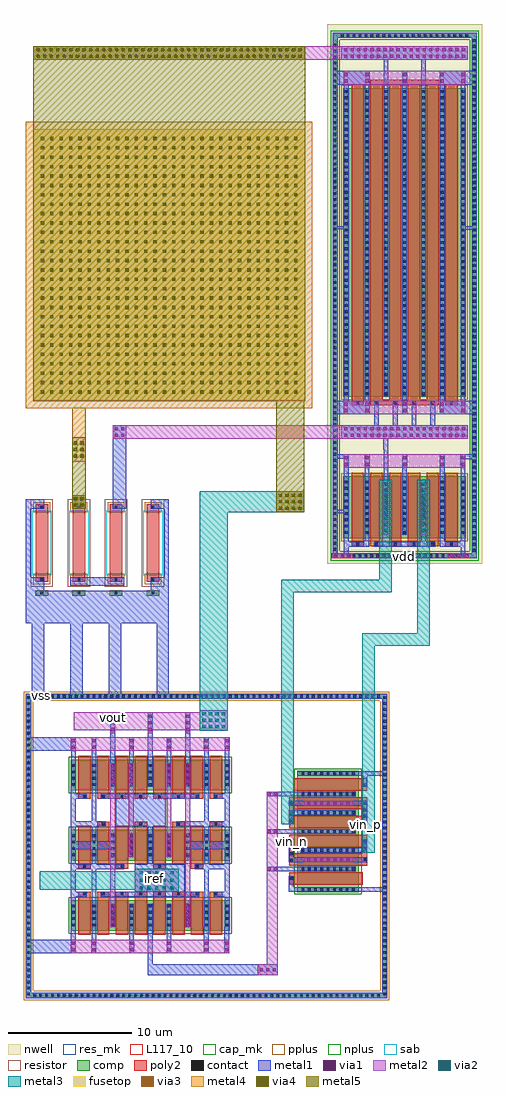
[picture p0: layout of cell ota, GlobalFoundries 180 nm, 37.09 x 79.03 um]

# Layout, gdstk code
from math import pi, radians
import gdstk
lib = gdstk.Library(unit=1e-6, precision=1e-09)
def R(c, l, rs):  # rectangles x0, y0, x1, y1
    for r in rs: c.add(gdstk.rectangle(r[:2], r[2:], *l))
def A(c, l, x, y, w, h, nx, ny, dx, dy):  # array of equal rectangles
    R(c, l, [(x+i*dx, y+j*dy, x+i*dx+w, y+j*dy+h) for i in range(nx) for j in range(ny)])
nwell = (21, 0)
comp = (22, 0)
poly2 = (30, 0)
pplus = (31, 0)
nplus = (32, 0)
contact = (33, 0)
metal1 = (34, 0)
via1 = (35, 0)
metal2 = (36, 0)
via2 = (38, 0)
via3 = (40, 0)
via4 = (41, 0)
metal3 = (42, 0)
metal4 = (46, 0)
sab = (49, 0)
resistor = (62, 0)
fusetop = (75, 0)
metal5 = (81, 0)
res_mk = (110, 5)
cap_mk = (117, 5)
L117_10 = (117, 10)

via_dev_12 = lib.new_cell('via_dev$12')
R(via_dev_12, comp, [(-0.01,-0.01,0.41,24.64)])
A(via_dev_12, contact, 0.09, 0.205, 0.22, 0.22, 1, 51, 0, 0.48)
R(via_dev_12, metal1, [(-0.01,-0.01,0.41,24.64)])

via_dev_15 = lib.new_cell('via_dev$15')
R(via_dev_15, comp, [(0.01,-0.01,28.43,0.41)])
A(via_dev_15, contact, 0.19, 0.09, 0.22, 0.22, 59, 1, 0.48, 0)
R(via_dev_15, metal1, [(0.01,-0.01,28.43,0.41)])

via_dev_33 = lib.new_cell('via_dev$33')
R(via_dev_33, metal1, [(0,0,1.6,0.9)])
A(via_dev_33, via1, 0.14, 0.32, 0.26, 0.26, 3, 1, 0.53, 0)
R(via_dev_33, metal2, [(0,0,1.6,0.9)])

via_dev_32 = lib.new_cell('via_dev$32')
R(via_dev_32, metal2, [(0,0,2.26,1.6)])
A(via_dev_32, via2, 0.205, 0.14, 0.26, 0.26, 4, 3, 0.53, 0.53)
R(via_dev_32, metal3, [(0,0,2.26,1.6)])

ota_res_flat = lib.new_cell('ota_res_FLAT')
A(ota_res_flat, comp, 0.36, -6.21, 0.42, 1, 1, 4, 0, 3)
A(ota_res_flat, poly2, 1.48, -6.21, 6.28, 1, 1, 4, 0, 3)
A(ota_res_flat, pplus, 1.3, -6.39, 0.82, 1.36, 1, 4, 0, 3)
A(ota_res_flat, pplus, 7.12, -6.39, 0.82, 1.36, 1, 4, 0, 3)
A(ota_res_flat, pplus, 0.34, -6.23, 0.46, 1.04, 1, 4, 0, 3)
A(ota_res_flat, contact, 0.46, -5.82, 0.22, 0.22, 1, 4, 0, 3)
A(ota_res_flat, contact, 1.58, -5.82, 0.22, 0.22, 1, 4, 0, 3)
A(ota_res_flat, contact, 7.44, -5.82, 0.22, 0.22, 1, 4, 0, 3)
A(ota_res_flat, metal1, 0.38, -5.9, 0.38, 0.38, 1, 4, 0, 3)
A(ota_res_flat, metal1, 1.47, -5.9, 0.38, 0.38, 1, 4, 0, 3)
R(ota_res_flat, metal1, [(0.38,-7,1.85,-5.515), (0.38,-7,0.76,4.58), (1.85,-7,7.77,-6.61), (7.39,-7,8.16,-5.515), (7.39,-5.9,7.77,-5.52), (1.15,-3.39,1.85,0.97), (0.38,-2.905,0.76,-2.515), (7.39,-2.905,7.77,-2.515), (7.39,-2.9,7.77,-2.52), (0.38,0.095,0.76,0.485), (7.39,0.095,7.77,0.485), (7.39,0.1,8.61,0.48), (0.38,3.095,1.85,4.58), (7.39,3.095,8.16,4.58), (7.39,3.1,7.77,3.48), (1.85,4.19,7.77,4.58)])
A(ota_res_flat, sab, 2.02, -6.49, 5.2, 1.56, 1, 4, 0, 3)
A(ota_res_flat, resistor, 1.08, -6.61, 7.08, 1.8, 1, 4, 0, 3)
A(ota_res_flat, res_mk, 2.12, -6.21, 5, 1, 1, 4, 0, 3)
ota_res_flat.add(gdstk.Label('vss', (0.51,-6.495), layer=34, texttype=10))
ota_res_flat.add(gdstk.Label('vin', (7.72,0.225), layer=34, texttype=10))
ota_res_flat.add(gdstk.Label('vout', (7.72,-2.665), layer=34, texttype=10))

via_dev_39 = lib.new_cell('via_dev$39')
R(via_dev_39, metal1, [(0,0,3.56,1.87)])
A(via_dev_39, via1, 0.41, 0.185, 0.26, 0.26, 5, 3, 0.62, 0.62)
R(via_dev_39, metal2, [(0,0,3.56,1.87)])
A(via_dev_39, via2, 0.41, 0.185, 0.26, 0.26, 5, 3, 0.62, 0.62)
R(via_dev_39, metal3, [(0,0,3.56,1.87)])

via_dev_42 = lib.new_cell('via_dev$42')
R(via_dev_42, metal1, [(0,0,0.4,1.91)])
A(via_dev_42, via1, 0.07, 0.295, 0.26, 0.26, 1, 3, 0, 0.53)
R(via_dev_42, metal2, [(0,0,0.4,1.91)])

cm_nmos_flat = lib.new_cell('cm_nmos_FLAT')
A(cm_nmos_flat, comp, 9.16, -4.745, 0.42, 2.5, 1, 3, 0, 5.685)
A(cm_nmos_flat, comp, 9.58, -4.745, 12.02, 2.5, 1, 3, 0, 5.685)
A(cm_nmos_flat, comp, 21.6, -4.745, 0.42, 2.5, 1, 3, 0, 5.685)
A(cm_nmos_flat, poly2, 9.77, -5.045, 1, 3.1, 8, 3, 1.52, 5.685)
A(cm_nmos_flat, poly2, 9.77, -1.945, 1, 0.36, 8, 2, 1.52, 7.91)
A(cm_nmos_flat, poly2, 9.77, 0.28, 1, 0.36, 4, 1, 3.04, 0)
A(cm_nmos_flat, poly2, 11.29, 3.74, 1, 0.36, 4, 1, 3.04, 0)
A(cm_nmos_flat, nplus, 8.99, -4.985, 13.2, 2.98, 1, 3, 0, 5.685)
A(cm_nmos_flat, contact, 9.26, -4.37, 0.22, 0.22, 1, 4, 0, 0.51)
A(cm_nmos_flat, contact, 10.92, -4.37, 0.22, 0.22, 7, 4, 1.52, 0.51)
A(cm_nmos_flat, contact, 21.7, -4.37, 0.22, 0.22, 1, 4, 0, 0.51)
A(cm_nmos_flat, contact, 10.16, -1.875, 0.22, 0.22, 8, 2, 1.52, 7.91)
A(cm_nmos_flat, contact, 10.16, 0.35, 0.22, 0.22, 4, 1, 3.04, 0)
A(cm_nmos_flat, contact, 9.26, 1.315, 0.22, 0.22, 1, 4, 0, 0.51)
A(cm_nmos_flat, contact, 10.92, 1.315, 0.22, 0.22, 7, 4, 1.52, 0.51)
A(cm_nmos_flat, contact, 21.7, 1.315, 0.22, 0.22, 1, 4, 0, 0.51)
A(cm_nmos_flat, contact, 11.68, 3.81, 0.22, 0.22, 4, 1, 3.04, 0)
A(cm_nmos_flat, contact, 9.26, 7, 0.22, 0.22, 1, 4, 0, 0.51)
A(cm_nmos_flat, contact, 10.92, 7, 0.22, 0.22, 7, 4, 1.52, 0.51)
A(cm_nmos_flat, contact, 21.7, 7, 0.22, 0.22, 1, 4, 0, 0.51)
A(cm_nmos_flat, metal1, 12.35, -8.57, 0.4, 1.7, 3, 1, 3.04, 0)
A(cm_nmos_flat, metal1, 10.835, -6.55, 0.4, 1.1, 4, 1, 3.035, 0)
A(cm_nmos_flat, metal1, 10.84, -5.45, 0.38, 1, 4, 1, 3.04, 0)
A(cm_nmos_flat, metal1, 9.18, -4.45, 0.38, 1.91, 1, 3, 0, 5.685)
A(cm_nmos_flat, metal1, 12.36, -4.45, 0.38, 1.91, 6, 1, 1.52, 0)
A(cm_nmos_flat, metal1, 21.62, -4.45, 0.38, 1.91, 1, 3, 0, 5.685)
A(cm_nmos_flat, metal1, 10.08, -1.955, 0.38, 0.38, 8, 2, 1.52, 7.91)
A(cm_nmos_flat, metal1, 10.08, 0.27, 0.38, 0.38, 4, 1, 3.04, 0)
A(cm_nmos_flat, metal1, 10.84, 1.235, 0.38, 1.91, 7, 2, 1.52, 5.685)
A(cm_nmos_flat, metal1, 11.6, 3.73, 0.38, 0.38, 4, 1, 3.04, 0)
R(cm_nmos_flat, metal1, [(15.4,-8.575,15.78,-4.45), (12.36,-8.57,12.74,-4.45), (18.44,-8.57,18.82,-4.45), (18.44,-7.45,18.82,-4.45), (9.17,-6.55,9.57,-5.45), (21.61,-6.55,22.01,-5.45), (9.18,-5.45,9.56,-4.45), (21.62,-5.45,22,-4.45), (10.84,-4.45,11.22,-2.54), (12.36,-4.45,12.74,-2.54), (9.17,-2.54,9.57,0.66), (10.84,-2.54,11.22,1.235), (19.96,-2.54,20.34,1.235), (21.61,-2.54,22.01,-1.57), (9.17,-1.96,10.46,-1.575), (11.6,-1.96,19.58,-1.57), (20.72,-1.96,22.01,-1.57), (21.61,-1.65,22.01,6.92), (14.33,-1.57,18.37,0.655), (9.17,0.265,13.5,0.655), (9.17,0.265,9.57,1.235), (19.2,0.265,22.01,0.655), (21.61,0.265,22.01,1.235), (15.39,0.655,15.79,1.235), (9.56,1.87,12.36,2.495), (18.82,1.87,21.62,2.495), (9.17,3.145,9.57,4.115), (10.84,3.145,11.22,6.92), (15.39,3.145,15.79,3.725), (19.96,3.145,20.34,6.92), (21.61,3.145,22.01,4.115), (9.17,3.725,11.98,4.115), (12.81,3.725,16.85,5.95), (17.68,3.725,22.01,4.115), (9.17,4.115,9.57,6.92), (11.6,5.95,19.58,6.34), (20.72,5.95,22.01,6.34), (9.17,5.96,10.46,6.34), (13.87,8.775,14.27,9.85), (9.18,8.83,9.58,10.93), (10.84,8.83,11.24,9.85), (15.4,8.83,15.78,12.72), (16.92,8.83,17.3,10.925), (19.96,8.83,20.34,10.925), (21.62,8.83,22.02,9.85), (10.84,9.85,11.24,10.93), (13.87,9.85,14.27,10.93), (16.89,9.85,17.29,10.93), (19.95,9.85,20.35,10.93), (21.62,9.85,22.02,10.93)])
A(cm_nmos_flat, via1, 12.42, -8.38, 0.26, 0.26, 3, 3, 3.04, 0.53)
A(cm_nmos_flat, via1, 10.905, -6.395, 0.26, 0.26, 4, 2, 3.035, 0.53)
R(cm_nmos_flat, via1, [(9.24,-6.395,9.5,-6.135), (21.68,-6.395,21.94,-6.135), (9.24,-5.865,9.5,-5.605), (21.68,-5.865,21.94,-5.605), (9.25,9.995,9.51,10.255), (10.91,9.995,11.17,10.255), (13.94,9.995,14.2,10.255), (16.96,9.995,17.22,10.255), (20.02,9.995,20.28,10.255), (21.69,9.995,21.95,10.255), (9.25,10.525,9.51,10.785), (10.91,10.525,11.17,10.785), (13.94,10.525,14.2,10.785), (16.96,10.525,17.22,10.785), (20.02,10.525,20.28,10.785), (21.69,10.525,21.95,10.785)])
A(cm_nmos_flat, metal2, 12.35, -8.57, 0.4, 1.7, 3, 1, 3.04, 0)
A(cm_nmos_flat, metal2, 10.835, -6.55, 0.4, 1.1, 4, 1, 3.035, 0)
R(cm_nmos_flat, metal2, [(9.32,-8.57,21.8,-7.13), (9.17,-6.55,22.01,-5.45), (9.17,-6.55,22.01,-5.45), (9.17,-6.55,9.57,-5.45), (21.61,-6.55,22.01,-5.45), (12.35,-2.54,12.75,6.92), (13.87,-2.54,14.27,1.235), (16.91,-2.54,17.31,1.235), (18.43,-2.54,18.83,6.92), (9.18,9.85,22.01,10.93), (9.18,9.85,9.58,10.93), (10.84,9.85,11.24,10.93), (13.87,9.85,14.27,10.93), (16.89,9.85,17.29,10.93), (19.95,9.85,20.35,10.93), (21.62,9.85,22.02,10.93)])
cm_nmos_flat.add(gdstk.Reference(via_dev_42, (12.35,-4.45)))
cm_nmos_flat.add(gdstk.Reference(via_dev_42, (13.87,-4.45)))
cm_nmos_flat.add(gdstk.Reference(via_dev_42, (16.91,-4.45)))
cm_nmos_flat.add(gdstk.Reference(via_dev_42, (18.43,-4.45)))
cm_nmos_flat.add(gdstk.Reference(via_dev_42, (18.43,6.92)))
cm_nmos_flat.add(gdstk.Reference(via_dev_42, (12.35,6.92)))
cm_nmos_flat.add(gdstk.Reference(via_dev_42, (13.87,1.235)))
cm_nmos_flat.add(gdstk.Reference(via_dev_42, (16.91,1.235)))
cm_nmos_flat.add(gdstk.Label('iref', (13.635,6.145), layer=34, texttype=10))
cm_nmos_flat.add(gdstk.Label('vout', (18.555,-8.16), layer=34, texttype=10))
cm_nmos_flat.add(gdstk.Label('vss', (10.4,3.965), layer=34, texttype=10))
cm_nmos_flat.add(gdstk.Label('iout', (15.62,12.705), layer=34, texttype=10))

via_dev_35 = lib.new_cell('via_dev$35')
R(via_dev_35, metal2, [(0,0,22,1.1)])
A(via_dev_35, via2, 0.27, 0.155, 0.26, 0.26, 41, 2, 0.53, 0.53)
A(via_dev_35, via3, 0.27, 0.155, 0.26, 0.26, 41, 2, 0.53, 0.53)
A(via_dev_35, via4, 0.27, 0.155, 0.26, 0.26, 41, 2, 0.53, 0.53)
R(via_dev_35, metal3, [(0,0,22,1.1)])
R(via_dev_35, metal4, [(0,0,22,1.1)])
R(via_dev_35, metal5, [(0,0,22,1.1)])

cap_mim = lib.new_cell('cap_mim')
A(cap_mim, via4, 0.61, 0.61, 0.26, 0.26, 28, 28, 0.76, 0.76)
R(cap_mim, metal4, [(-0.6,-0.6,22.6,22.6)])
R(cap_mim, fusetop, [(0,0,22,22)])
R(cap_mim, metal5, [(0,0,22,22)])
R(cap_mim, cap_mk, [(-0.6,-0.6,22.6,22.6)])
R(cap_mim, L117_10, [(0,0,22,0.1)])

via_dev_40 = lib.new_cell('via_dev$40')
R(via_dev_40, comp, [(0,0,0.4,42.14)])
A(via_dev_40, contact, 0.09, 0.145, 0.22, 0.22, 1, 87, 0, 0.48)
R(via_dev_40, metal1, [(0,0,0.4,42.14)])

via_dev_41 = lib.new_cell('via_dev$41')
R(via_dev_41, comp, [(0,0,11.26,0.4)])
A(via_dev_41, contact, 0.265, 0.09, 0.22, 0.22, 22, 1, 0.48, 0)
R(via_dev_41, metal1, [(0,0,11.26,0.4)])

via_dev_34 = lib.new_cell('via_dev$34')
R(via_dev_34, metal1, [(0,0,1.1,1.1)])
R(via_dev_34, via1, [(0.155,0.155,0.415,0.415), (0.685,0.155,0.945,0.415), (0.155,0.685,0.415,0.945), (0.685,0.685,0.945,0.945)])
R(via_dev_34, metal2, [(0,0,1.1,1.1)])

via_dev_36 = lib.new_cell('via_dev$36')
A(via_dev_36, via3, 0.205, 0.19, 0.26, 0.26, 4, 3, 0.53, 0.53)
A(via_dev_36, via4, 0.205, 0.19, 0.26, 0.26, 4, 3, 0.53, 0.53)
R(via_dev_36, metal3, [(0,0,2.26,1.7)])
R(via_dev_36, metal4, [(0,0,2.26,1.7)])
R(via_dev_36, metal5, [(0,0,2.26,1.7)])

via_dev_22 = lib.new_cell('via_dev$22')
R(via_dev_22, metal1, [(0,0,0.4,1.1)])
R(via_dev_22, via1, [(0.07,0.155,0.33,0.415), (0.07,0.685,0.33,0.945)])
R(via_dev_22, metal2, [(0,0,0.4,1.1)])

cm_pmos_flat = lib.new_cell('cm_pmos_FLAT')
R(cm_pmos_flat, nwell, [(6.305,-3.895,17.085,4.87), (6.305,-3.895,17.085,1.985)])
R(cm_pmos_flat, comp, [(6.745,-3.455,7.205,1.545), (7.205,-3.455,16.185,1.545), (16.185,-3.455,16.645,1.545), (9.975,-3.185,10.375,1.275), (13.015,-3.185,13.415,1.275)])
A(cm_pmos_flat, poly2, 7.395, -4.135, 1, 0.38, 6, 1, 1.52, 0)
A(cm_pmos_flat, poly2, 7.395, -3.755, 1, 5.6, 6, 1, 1.52, 0)
R(cm_pmos_flat, pplus, [(6.575,-3.695,16.815,1.785)])
A(cm_pmos_flat, contact, 7.785, -4.055, 0.22, 0.22, 6, 1, 1.52, 0)
A(cm_pmos_flat, contact, 6.865, -3.105, 0.22, 0.22, 1, 9, 0, 0.51)
A(cm_pmos_flat, contact, 8.545, -3.105, 0.22, 0.22, 3, 4, 3.04, 0.51)
A(cm_pmos_flat, contact, 16.305, -3.105, 0.22, 0.22, 1, 9, 0, 0.51)
A(cm_pmos_flat, contact, 10.065, -2.985, 0.22, 0.22, 1, 4, 0, 0.48)
A(cm_pmos_flat, contact, 13.105, -2.985, 0.22, 0.22, 1, 4, 0, 0.48)
A(cm_pmos_flat, contact, 8.545, -1.065, 0.22, 0.22, 5, 1, 1.52, 0)
A(cm_pmos_flat, contact, 10.065, -0.585, 0.22, 0.22, 1, 4, 0, 0.48)
A(cm_pmos_flat, contact, 13.105, -0.585, 0.22, 0.22, 1, 4, 0, 0.48)
A(cm_pmos_flat, contact, 8.545, -0.555, 0.22, 0.22, 3, 4, 3.04, 0.51)
A(cm_pmos_flat, metal1, 7.705, -4.135, 0.38, 0.38, 6, 1, 1.52, 0)
A(cm_pmos_flat, metal1, 8.465, -3.185, 0.38, 4.46, 3, 1, 3.04, 0)
A(cm_pmos_flat, metal1, 8.465, 1.275, 0.38, 0.95, 3, 1, 3.04, 0)
R(cm_pmos_flat, metal1, [(6.785,-4.14,7.165,-3.185), (7.165,-4.14,8.845,-3.75), (8.465,-4.14,8.845,-3.185), (9.225,-4.14,14.165,-3.75), (14.545,-4.14,14.925,-3.185), (14.925,-4.14,16.225,-3.75), (16.225,-4.14,16.605,-3.185), (13.025,-3.75,13.405,-3.185), (6.785,-3.185,7.165,1.275), (9.975,-3.185,10.375,1.275), (13.015,-3.185,13.415,1.275), (16.225,-3.185,16.605,1.275), (6.785,1.275,7.165,2.225), (9.985,1.275,10.365,3.74), (16.225,1.275,16.605,2.225)])
A(cm_pmos_flat, via1, 10.045, -2.94, 0.26, 0.26, 1, 8, 0, 0.53)
A(cm_pmos_flat, via1, 13.085, -2.94, 0.26, 0.26, 1, 8, 0, 0.53)
R(cm_pmos_flat, metal2, [(9.975,-3.185,10.375,1.275), (13.015,-3.185,13.415,1.275), (7.175,2.225,16.215,3.325)])
A(cm_pmos_flat, via2, 10.045, -2.94, 0.26, 0.26, 1, 8, 0, 0.53)
A(cm_pmos_flat, via2, 13.085, -2.94, 0.26, 0.26, 1, 8, 0, 0.53)
R(cm_pmos_flat, metal3, [(9.975,-3.185,10.375,1.275), (13.015,-3.185,13.415,1.275)])
cm_pmos_flat.add(gdstk.Reference(via_dev_22, (6.775,2.225)))
cm_pmos_flat.add(gdstk.Reference(via_dev_22, (8.455,2.225)))
cm_pmos_flat.add(gdstk.Reference(via_dev_22, (11.495,2.225)))
cm_pmos_flat.add(gdstk.Reference(via_dev_22, (14.535,2.225)))
cm_pmos_flat.add(gdstk.Reference(via_dev_22, (16.215,2.225)))
cm_pmos_flat.add(gdstk.Label('vout1', (11.655,-3.985), layer=34, texttype=10))
cm_pmos_flat.add(gdstk.Label('vdd', (15.775,-4), layer=34, texttype=10))
cm_pmos_flat.add(gdstk.Label('vout2', (10.205,1.605), layer=34, texttype=10))

via_dev_45 = lib.new_cell('via_dev$45')
R(via_dev_45, metal1, [(0,0,1.7,0.4)])
A(via_dev_45, via1, 0.19, 0.07, 0.26, 0.26, 3, 1, 0.53, 0)
R(via_dev_45, metal2, [(0,0,1.7,0.4)])

via_dev_58 = lib.new_cell('via_dev$58')
A(via_dev_58, via4, 0.155, 0.34, 0.26, 0.26, 1, 3, 0, 0.53)
A(via_dev_58, via4, 0.685, 0.34, 0.26, 0.26, 1, 3, 0, 0.53)
R(via_dev_58, metal4, [(0,0,1.1,2)])
R(via_dev_58, metal5, [(0,0,1.1,2)])

via_dev_56 = lib.new_cell('via_dev$56')
R(via_dev_56, metal1, [(0,0,1.1,1.1)])
R(via_dev_56, via1, [(0.155,0.155,0.415,0.415), (0.685,0.155,0.945,0.415), (0.155,0.685,0.415,0.945), (0.685,0.685,0.945,0.945)])
R(via_dev_56, metal2, [(0,0,1.1,1.1)])
R(via_dev_56, via2, [(0.155,0.155,0.415,0.415), (0.685,0.155,0.945,0.415), (0.155,0.685,0.415,0.945), (0.685,0.685,0.945,0.945)])
R(via_dev_56, via3, [(0.155,0.155,0.415,0.415), (0.685,0.155,0.945,0.415), (0.155,0.685,0.415,0.945), (0.685,0.685,0.945,0.945)])
R(via_dev_56, via4, [(0.155,0.155,0.415,0.415), (0.685,0.155,0.945,0.415), (0.155,0.685,0.415,0.945), (0.685,0.685,0.945,0.945)])
R(via_dev_56, metal3, [(0,0,1.1,1.1)])
R(via_dev_56, metal4, [(0,0,1.1,1.1)])
R(via_dev_56, metal5, [(0,0,1.1,1.1)])

diff_pair_flat = lib.new_cell('diff_pair_FLAT')
R(diff_pair_flat, comp, [(8.89,-12.565,13.89,-12.145), (8.89,-12.145,13.89,-3.16), (8.89,-3.16,13.89,-2.74)])
A(diff_pair_flat, poly2, 8.225, -11.95, 0.36, 1, 1, 3, 0, 3.04)
A(diff_pair_flat, poly2, 8.585, -11.95, 5.605, 1, 1, 6, 0, 1.52)
R(diff_pair_flat, poly2, [(8.225,-10.43,8.585,-7.91), (14.19,-10.43,14.55,-9.43), (14.19,-9.43,14.55,-7.91), (8.225,-7.39,8.585,-5.87), (14.19,-7.39,14.55,-4.87), (14.19,-4.35,14.55,-3.35)])
R(diff_pair_flat, nplus, [(8.645,-12.735,14.13,-2.57)])
A(diff_pair_flat, contact, 9.235, -12.465, 0.22, 0.22, 5, 2, 0.51, 1.665)
A(diff_pair_flat, contact, 11.79, -12.465, 0.22, 0.22, 4, 2, 0.51, 1.665)
A(diff_pair_flat, contact, 8.295, -10.08, 0.22, 0.22, 1, 4, 0, 0.52)
A(diff_pair_flat, contact, 9.235, -9.28, 0.22, 0.22, 5, 4, 0.51, 1.52)
A(diff_pair_flat, contact, 11.79, -9.28, 0.22, 0.22, 4, 4, 0.51, 1.52)
A(diff_pair_flat, contact, 14.26, -7.05, 0.22, 0.22, 1, 4, 0, 0.52)
A(diff_pair_flat, contact, 9.235, -3.06, 0.22, 0.22, 5, 1, 0.51, 0)
A(diff_pair_flat, contact, 11.79, -3.06, 0.22, 0.22, 4, 1, 0.51, 0)
R(diff_pair_flat, contact, [(8.295,-11.56,8.515,-11.34), (14.26,-10.04,14.48,-9.82), (8.295,-5.48,8.515,-5.26), (14.26,-3.96,14.48,-3.74)])
A(diff_pair_flat, metal1, 6.405, -10.88, 4.5, 0.38, 1, 3, 0, 3.04)
A(diff_pair_flat, metal1, 9.155, -10.88, 4.465, 0.38, 1, 3, 0, 3.04)
R(diff_pair_flat, metal1, [(9.155,-12.545,16.17,-12.165), (15.77,-12.545,16.17,-2.76), (8.21,-12.54,9.155,-12.16), (8.21,-12.54,10.905,-12.16), (8.21,-12.16,8.6,-11.26), (8.215,-11.64,8.595,-11.26), (8.215,-10.15,8.595,-8.22), (8.255,-10.13,14.56,-9.73), (9.41,-10.13,13.41,-9.73), (14.175,-10.12,14.565,-9.74), (9.155,-9.36,14.56,-8.98), (14.16,-9.36,14.56,-8.26), (14.18,-7.19,14.56,-5.18), (8.2,-7.045,8.6,-5.945), (8.2,-6.32,13.62,-5.94), (8.21,-5.57,14.535,-5.17), (9.41,-5.57,13.41,-5.17), (8.215,-5.56,8.595,-5.18), (14.175,-4.04,14.565,-3.14), (14.18,-4.04,14.56,-3.66), (8.895,-3.14,10.905,-2.76), (9.155,-3.14,13.62,-2.76), (13.62,-3.14,16.17,-2.76)])
A(diff_pair_flat, via1, 6.465, -10.82, 0.26, 0.26, 1, 3, 0, 3.04)
A(diff_pair_flat, via1, 6.985, -10.82, 0.26, 0.26, 1, 3, 0, 3.04)
A(diff_pair_flat, via1, 9.69, -10.06, 0.26, 0.26, 7, 2, 0.53, 4.56)
R(diff_pair_flat, via1, [(14.23,-9.205,14.49,-8.945), (14.23,-8.675,14.49,-8.415), (8.27,-6.89,8.53,-6.63), (8.27,-6.36,8.53,-6.1)])
R(diff_pair_flat, metal2, [(6.405,-10.88,7.305,-4.42), (9.41,-10.13,13.41,-9.73), (14.16,-9.36,14.56,-8.26), (8.2,-7.045,8.6,-5.945), (9.41,-5.57,13.41,-5.17)])
R(diff_pair_flat, via2, [(14.23,-9.205,14.49,-8.945), (14.23,-8.675,14.49,-8.415), (8.27,-6.89,8.53,-6.63), (8.27,-6.36,8.53,-6.1)])
R(diff_pair_flat, metal3, [(14.16,-9.36,14.56,-8.26), (8.2,-7.045,8.6,-5.945)])
diff_pair_flat.add(gdstk.Label('vin_n', (8.385,-8.445), layer=34, texttype=10))
diff_pair_flat.add(gdstk.Label('vin_p', (14.445,-7.065), layer=34, texttype=10))
diff_pair_flat.add(gdstk.Label('vin2', (11.405,-9.08), layer=34, texttype=10))
diff_pair_flat.add(gdstk.Label('vin1', (11.395,-6.185), layer=34, texttype=10))
diff_pair_flat.add(gdstk.Label('cm', (6.685,-7.685), layer=34, texttype=10))
diff_pair_flat.add(gdstk.Label('vss', (14.37,-2.975), layer=34, texttype=10))

out_pmos_flat = lib.new_cell('out_pmos_FLAT')
R(out_pmos_flat, nwell, [(0,1.785,10.78,28.835), (0,28.835,10.78,32.03)])
R(out_pmos_flat, comp, [(0.44,3.395,0.9,28.395), (0.9,3.395,9.88,28.395), (9.88,3.395,10.34,28.395)])
A(out_pmos_flat, poly2, 1.09, 3.095, 1, 25.6, 6, 1, 1.52, 0)
A(out_pmos_flat, poly2, 1.09, 28.695, 1, 0.38, 6, 1, 1.52, 0)
R(out_pmos_flat, poly2, [(2.61,2.715,8.17,3.155), (2.61,28.635,8.17,29.075)])
R(out_pmos_flat, pplus, [(0.27,3.155,10.51,28.635)])
A(out_pmos_flat, contact, 0.56, 3.545, 0.22, 0.22, 1, 49, 0, 0.51)
A(out_pmos_flat, contact, 2.24, 3.545, 0.22, 0.22, 5, 49, 1.52, 0.51)
A(out_pmos_flat, contact, 10, 3.545, 0.22, 0.22, 1, 49, 0, 0.51)
A(out_pmos_flat, contact, 1.48, 28.775, 0.22, 0.22, 6, 1, 1.52, 0)
A(out_pmos_flat, metal1, 2.15, 2.005, 0.4, 1.1, 3, 2, 3.04, 26.68)
A(out_pmos_flat, metal1, 2.16, 3.105, 0.38, 0.36, 3, 2, 3.04, 25.22)
A(out_pmos_flat, metal1, 2.16, 3.465, 0.38, 24.86, 5, 1, 1.52, 0)
A(out_pmos_flat, metal1, 2.92, 28.69, 0.38, 2, 4, 1, 1.52, 0)
A(out_pmos_flat, metal1, 1.4, 28.695, 0.38, 0.38, 6, 1, 1.52, 0)
R(out_pmos_flat, metal1, [(0.27,0,10.51,1.1), (3.68,1.1,4.06,3.465), (6.72,1.1,7.1,3.465), (0.47,2.005,0.87,3.105), (0.87,2.005,2.15,3.105), (8.63,2.005,9.91,3.105), (9.91,2.005,10.31,3.105), (0.48,3.105,0.86,3.465), (9.92,3.105,10.3,3.465), (0.48,3.465,0.86,28.325), (9.92,3.465,10.3,28.325), (0.48,28.325,0.86,28.685), (9.92,28.325,10.3,28.685), (0.47,28.685,0.87,29.785), (0.87,28.685,2.15,29.785), (8.63,28.685,9.91,29.785), (9.91,28.685,10.31,29.785), (0.27,30.69,10.51,31.79)])
A(out_pmos_flat, via1, 0.49, 0.155, 0.26, 0.26, 19, 2, 0.53, 0.53)
A(out_pmos_flat, via1, 2.22, 2.16, 0.26, 0.26, 3, 2, 3.04, 0.53)
A(out_pmos_flat, via1, 2.22, 28.84, 0.26, 0.26, 3, 2, 3.04, 0.53)
A(out_pmos_flat, via1, 0.49, 30.845, 0.26, 0.26, 19, 2, 0.53, 0.53)
R(out_pmos_flat, via1, [(0.54,2.16,0.8,2.42), (9.98,2.16,10.24,2.42), (0.54,2.69,0.8,2.95), (9.98,2.69,10.24,2.95), (0.54,28.84,0.8,29.1), (9.98,28.84,10.24,29.1), (0.54,29.37,0.8,29.63), (9.98,29.37,10.24,29.63)])
A(out_pmos_flat, metal2, 2.15, 2.005, 0.4, 1.1, 3, 2, 3.04, 26.68)
R(out_pmos_flat, metal2, [(0.27,0,10.51,1.1), (0.47,2.005,10.31,3.105), (0.47,2.005,0.87,3.105), (9.91,2.005,10.31,3.105), (0.47,28.685,10.31,29.785), (0.47,28.685,0.87,29.785), (9.91,28.685,10.31,29.785), (0.27,30.69,10.51,31.79)])
out_pmos_flat.add(gdstk.Label('vdd', (0.725,28.945), layer=34, texttype=10))
out_pmos_flat.add(gdstk.Label('vin', (6.12,30.07), layer=34, texttype=10))
out_pmos_flat.add(gdstk.Label('vout', (6.84,1.43), layer=34, texttype=10))

ota = lib.new_cell('ota')
R(ota, nwell, [(29.115,25.09,41.655,68.795)])
R(ota, comp, [(29.555,67.675,29.955,68.075)])
R(ota, pplus, [(4.56,-10.23,34.14,-9.49), (4.56,-9.49,5.3,14), (33.4,-9.49,34.14,14), (4.56,14,34.14,14.74)])
R(ota, nplus, [(29.385,25.355,41.385,26.105), (29.385,25.355,30.125,68.245), (40.645,25.355,41.385,68.245), (29.385,67.505,41.385,68.245)])
R(ota, metal1, [(14.595,-8.23,25.105,-7.325), (5.14,-6.44,8.355,-5.36), (26.095,2.545,26.315,2.765), (32.235,3.98,32.26,4.015), (32.06,4.535,32.28,4.755), (5.14,9.94,8.365,11.04), (11.795,12.62,11.875,12.725), (5.945,14.43,6.005,14.495), (5.19,14.58,6.19,20.26), (8.305,14.58,9.305,20.26), (11.44,14.58,12.44,20.26), (15.3,14.58,16.3,20.26), (4.72,20.26,16.3,22.885), (30.475,25.935,30.855,26.585), (39.915,25.935,40.295,26.485), (29.955,29.18,30.475,29.47), (11.74,29.535,12.84,35.205), (40.305,33.54,40.815,33.95), (29.955,33.58,30.465,33.95), (33.665,34.365,34.065,35.205), (29.955,37.21,30.465,38.31), (40.305,37.21,40.815,38.31), (40.295,52.145,40.815,52.41), (29.955,52.16,30.475,52.43), (29.955,63.89,30.465,64.99), (40.305,63.89,40.815,64.99), (29.555,67.675,29.955,68.075)])
R(ota, metal2, [(24.205,-7.33,25.105,0.185), (15.045,-0.595,15.435,-0.225), (12.84,35.205,34.065,36.305), (5.32,65.895,30.9,66.995)])
R(ota, metal3, [(5.86,-1.295,13.525,0.205), (31.96,1.71,32.96,18.465), (25.4,4.01,26.4,22.8), (18.8,11.59,21.055,29.265), (31.96,18.465,37.405,19.465), (36.405,19.465,37.405,31.9), (25.4,22.8,33.325,23.8), (33.325,22.8,34.325,31.9), (18.8,29.265,24.995,30.965)])
R(ota, metal4, [(8.455,35.345,9.555,37.665)])
R(ota, metal5, [(8.455,30.635,9.555,33.345), (24.995,30.965,27.25,38.265), (5.32,60.265,27.32,65.895)])
r = gdstk.Reference(via_dev_12, (4.73,-10.06)); r.repetition = gdstk.Repetition(1, 1, v1=(0,0), v2=(0,0)); ota.add(r)
r = gdstk.Reference(via_dev_12, (33.57,-10.06)); r.repetition = gdstk.Repetition(1, 1, v1=(0,0), v2=(0,0)); ota.add(r)
r = gdstk.Reference(via_dev_15, (5.13,14.17)); r.repetition = gdstk.Repetition(1, 1, v1=(0,0), v2=(0,0)); ota.add(r)
r = gdstk.Reference(via_dev_15, (5.13,-10.06)); r.repetition = gdstk.Repetition(1, 1, v1=(0,0), v2=(0,0)); ota.add(r)
r = gdstk.Reference(via_dev_33, (23.5,-8.23)); r.repetition = gdstk.Repetition(1, 1, v1=(0,0), v2=(0,0)); ota.add(r)
r = gdstk.Reference(via_dev_32, (18.8,11.62)); r.repetition = gdstk.Repetition(1, 1, v1=(0,0), v2=(0,0)); ota.add(r)
ota.add(gdstk.Reference(ota_res_flat, (11.72,22.145), rotation=pi/2, x_reflection=True))
ota.add(gdstk.Reference(via_dev_39, (13.525,-1.48)))
ota.add(gdstk.Reference(cm_nmos_flat, (30.375,4.49), rotation=pi))
r = gdstk.Reference(via_dev_35, (5.32,65.895)); r.repetition = gdstk.Repetition(1, 1, v1=(0,0), v2=(0,0)); ota.add(r)
r = gdstk.Reference(cap_mim, (5.32,38.265)); r.repetition = gdstk.Repetition(1, 1, v1=(0,0), v2=(0,0)); ota.add(r)
r = gdstk.Reference(via_dev_40, (29.555,25.535)); r.repetition = gdstk.Repetition(1, 1, v1=(0,0), v2=(0,0)); ota.add(r)
ota.add(gdstk.Reference(via_dev_41, (29.955,25.535)))
ota.add(gdstk.Reference(via_dev_41, (29.955,67.675)))
ota.add(gdstk.Reference(via_dev_34, (11.74,35.205)))
r = gdstk.Reference(via_dev_36, (24.995,29.265)); r.repetition = gdstk.Repetition(1, 1, v1=(0,0), v2=(0,0)); ota.add(r)
ota.add(gdstk.Reference(cm_pmos_flat, (23.69,30.625)))
ota.add(gdstk.Reference(via_dev_45, (29.5,25.535)))
ota.add(gdstk.Reference(via_dev_45, (38.865,25.535)))
r = gdstk.Reference(via_dev_40, (40.815,25.935)); r.repetition = gdstk.Repetition(1, 1, v1=(0,0), v2=(0,0)); ota.add(r)
ota.add(gdstk.Reference(via_dev_58, (8.455,33.345)))
ota.add(gdstk.Reference(via_dev_56, (8.455,29.535)))
ota.add(gdstk.Reference(diff_pair_flat, (17.8,11.065)))
ota.add(gdstk.Reference(out_pmos_flat, (40.775,66.995), rotation=pi))
ota.add(gdstk.Label('vdd', (35.39,25.7), layer=34, texttype=10))
ota.add(gdstk.Label('vin_p', (32.245,4), layer=34, texttype=10))
ota.add(gdstk.Label('vin_n', (26.185,2.62), layer=34, texttype=10))
ota.add(gdstk.Label('vss', (5.975,14.465), layer=34, texttype=10))
ota.add(gdstk.Label('vout', (11.82,12.65), layer=34, texttype=10))
ota.add(gdstk.Label('iref', (15.17,-0.385), layer=36, texttype=10))

lib.write_gds('ota.gds')
